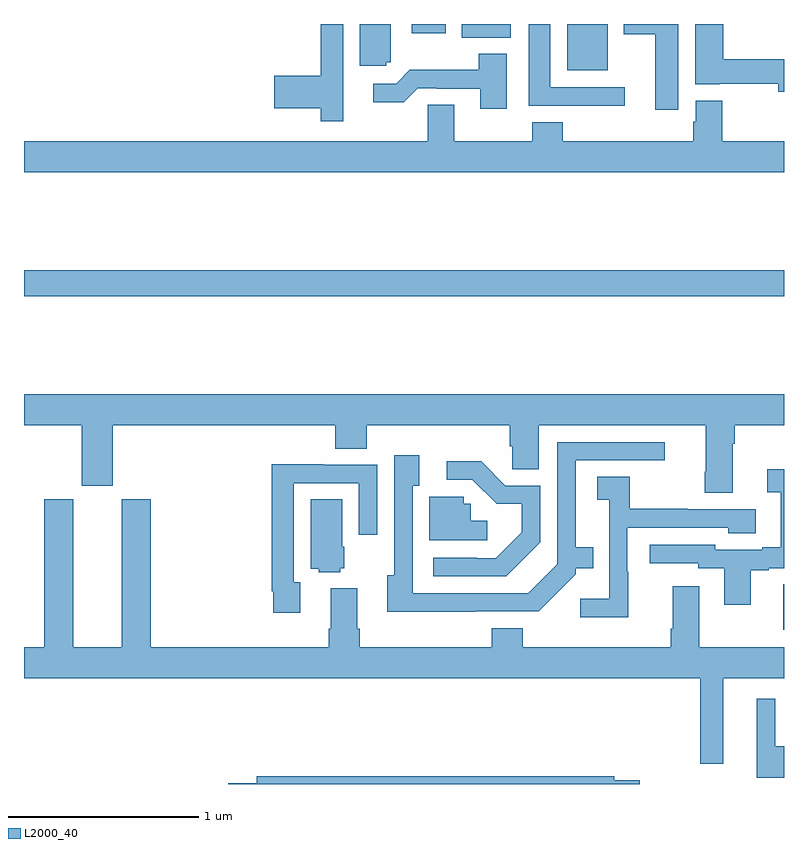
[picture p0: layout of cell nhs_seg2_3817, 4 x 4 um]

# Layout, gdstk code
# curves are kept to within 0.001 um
import gdstk
lib = gdstk.Library(unit=1e-6, precision=1e-09)
def R(c, l, rs):  # rectangles x0, y0, x1, y1
    for r in rs: c.add(gdstk.rectangle(r[:2], r[2:], *l))
def P(c, l, *ps):  # polygons
    for p in ps: c.add(gdstk.Polygon(p, *l))
L2000_40 = (2000, 40)

nhs_seg2_3817 = lib.new_cell('nhs_seg2_3817')
R(nhs_seg2_3817, L2000_40, [(316.997,594.612,317,594.851), (313,596.368,317,596.504), (315.86,597.557,316.072,597.8), (315.304,597.728,315.562,597.8), (315.042,597.752,315.219,597.8)])
P(nhs_seg2_3817, L2000_40, [(316.444,597.8),(316.157,597.8),(316.157,597.746),(316.322,597.746),(316.322,597.348),(316.444,597.348)],
  [(314.68,597.51),(314.679,597.51),(314.679,597.8),(314.563,597.8),(314.563,597.527),(314.316,597.527),(314.316,597.356),(314.563,597.356),(314.563,597.288),(314.68,597.288)],
  [(317,597.614),(316.679,597.614),(316.679,597.8),(316.532,597.8),(316.532,597.482),(316.662,597.482),(316.662,597.486),(316.97,597.486),(316.97,597.443),(317,597.443)],
  [(316.162,597.468),(315.769,597.468),(315.769,597.8),(315.656,597.8),(315.656,597.371),(316.162,597.371)],
  [(314.907,597.6),(314.929,597.6),(314.929,597.8),(314.768,597.8),(314.768,597.579),(314.907,597.579)],
  [(315.541,597.643),(315.394,597.643),(315.394,597.559),(315.031,597.559),(314.958,597.486),(314.838,597.486),(314.838,597.389),(314.999,597.389),(315.072,597.462),(315.172,597.462),(315.172,597.459),(315.401,597.459),(315.401,597.354),(315.541,597.354)],
  [(317,597.184),(316.676,597.184),(316.676,597.397),(316.535,597.397),(316.535,597.285),(316.523,597.285),(316.523,597.184),(315.836,597.184),(315.836,597.283),(315.676,597.283),(315.676,597.184),(315.265,597.184),(315.265,597.374),(315.126,597.374),(315.126,597.184),(313,597.184),(313,597.02),(317,597.02)],
  [(316.729,595.592),(316.742,595.592),(316.742,595.688),(317,595.688),(317,595.852),(313,595.852),(313,595.688),(313.304,595.688),(313.304,595.371),(313.468,595.371),(313.468,595.688),(314.639,595.688),(314.639,595.564),(314.804,595.564),(314.804,595.688),(315.557,595.688),(315.557,595.578),(315.571,595.578),(315.571,595.456),(315.709,595.456),(315.709,595.688),(316.589,595.688),(316.589,595.444),(316.582,595.444),(316.582,595.332),(316.729,595.332)],
  [(315.377,594.708),(315.708,594.708),(315.903,594.903),(315.903,594.935),(315.995,594.935),(315.995,595.045),(315.904,595.045),(315.904,595.503),(316.372,595.503),(316.372,595.599),(315.807,595.599),(315.807,594.957),(315.654,594.804),(315.045,594.804),(315.045,595.37),(315.079,595.37),(315.079,595.531),(314.949,595.531),(314.949,594.898),(314.912,594.898),(314.912,594.707)],
  [(315.717,595.073),(315.717,595.371),(315.534,595.371),(315.406,595.499),(315.225,595.499),(315.225,595.401),(315.36,595.401),(315.487,595.274),(315.62,595.274),(315.62,595.124),(315.483,594.987),(315.383,594.987),(315.383,594.99),(315.153,594.99),(315.153,594.894),(315.538,594.894)],
  [(314.455,594.863),(314.421,594.863),(314.421,595.383),(314.763,595.383),(314.763,595.113),(314.859,595.113),(314.859,595.479),(314.575,595.479),(314.575,595.483),(314.305,595.483),(314.305,594.814),(314.313,594.814),(314.313,594.702),(314.455,594.702)],
  [(316.825,594.924),(316.921,594.924),(316.921,594.936),(317,594.936),(317,595.456),(316.911,595.456),(316.911,595.336),(316.982,595.336),(316.982,595.045),(316.886,595.045),(316.886,595.032),(316.638,595.032),(316.638,595.059),(316.293,595.059),(316.293,594.963),(316.548,594.963),(316.548,594.936),(316.685,594.936),(316.685,594.744),(316.825,594.744)],
  [(316.179,594.917),(316.176,594.917),(316.176,595.149),(316.707,595.149),(316.707,595.121),(316.852,595.121),(316.852,595.245),(316.493,595.245),(316.493,595.248),(316.189,595.248),(316.189,595.418),(316.017,595.418),(316.017,595.297),(316.08,595.297),(316.08,594.775),(315.927,594.775),(315.927,594.677),(316.179,594.677)],
  [(315.439,595.186),(315.351,595.186),(315.351,595.275),(315.315,595.275),(315.315,595.311),(315.134,595.311),(315.134,595.083),(315.439,595.083)],
  [(316.681,594.356),(317,594.356),(317,594.52),(316.555,594.52),(316.555,594.841),(316.415,594.841),(316.415,594.616),(316.403,594.616),(316.403,594.52),(315.626,594.52),(315.626,594.619),(315.461,594.619),(315.461,594.52),(314.768,594.52),(314.768,594.616),(314.755,594.616),(314.755,594.829),(314.615,594.829),(314.615,594.616),(314.603,594.616),(314.603,594.52),(313.667,594.52),(313.667,595.299),(313.514,595.299),(313.514,594.52),(313.258,594.52),(313.258,595.299),(313.106,595.299),(313.106,594.52),(313,594.52),(313,594.356),(316.56,594.356),(316.56,593.907),(316.681,593.907)],
  [(314.664,594.936),(314.686,594.936),(314.686,595.05),(314.674,595.05),(314.674,595.298),(314.51,595.298),(314.51,594.932),(314.55,594.932),(314.55,594.914),(314.664,594.914)],
  [(317,593.998),(316.954,593.998),(316.954,594.25),(316.856,594.25),(316.856,593.834),(317,593.834)],
  [(316.24,593.82),(316.106,593.82),(316.106,593.84),(314.225,593.84),(314.225,593.804),(314.076,593.804),(314.076,593.8),(316.24,593.8)])

lib.write_gds('nhs_seg2_3817.gds')
